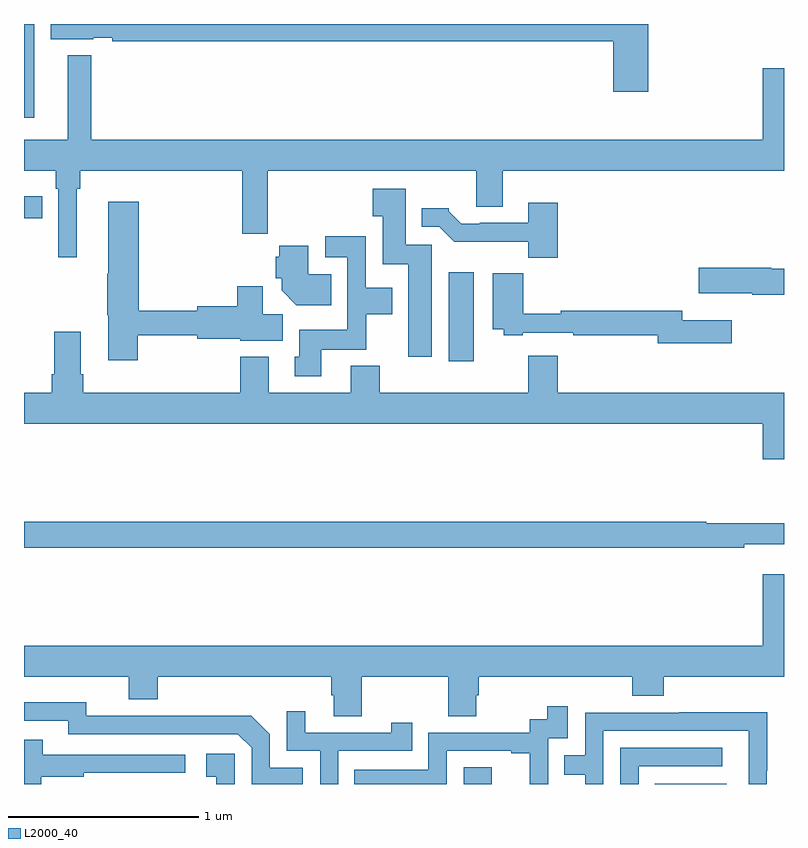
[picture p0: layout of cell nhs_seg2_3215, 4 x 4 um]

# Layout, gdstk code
import gdstk
lib = gdstk.Library(unit=1e-6, precision=1e-09)
def R(c, l, rs):  # rectangles x0, y0, x1, y1
    for r in rs: c.add(gdstk.rectangle(r[:2], r[2:], *l))
def P(c, l, *ps):  # polygons
    for p in ps: c.add(gdstk.Polygon(p, *l))
L2000_40 = (2000, 40)

nhs_seg2_3215 = lib.new_cell('nhs_seg2_3215')
R(nhs_seg2_3215, L2000_40, [(283.314,585.8,283.462,585.889), (284.32,585.8,284.698,585.802), (283.235,588.024,283.366,588.493), (281,588.778,281.096,588.894), (281,589.307,281.053,589.8)])
P(nhs_seg2_3215, L2000_40, [(284.285,589.8),(281.141,589.8),(281.141,589.721),(281.364,589.721),(281.364,589.727),(281.464,589.727),(281.464,589.708),(284.102,589.708),(284.102,589.443),(284.285,589.443)],
  [(281.278,588.932),(281.297,588.932),(281.297,589.028),(282.148,589.028),(282.148,588.696),(282.284,588.696),(282.284,589.028),(283.379,589.028),(283.379,588.838),(283.519,588.838),(283.519,589.028),(285,589.028),(285,589.567),(284.888,589.567),(284.888,589.192),(281.353,589.192),(281.353,589.636),(281.231,589.636),(281.231,589.192),(281,589.192),(281,589.028),(281.168,589.028),(281.168,588.932),(281.181,588.932),(281.181,588.573),(281.278,588.573)],
  [(283.147,588.639),(283.009,588.639),(283.009,588.934),(282.836,588.934),(282.836,588.787),(282.887,588.787),(282.887,588.536),(283.022,588.536),(283.022,588.048),(283.147,588.048)],
  [(281.598,588.162),(281.912,588.162),(281.912,588.143),(282.138,588.143),(282.138,588.134),(282.361,588.134),(282.361,588.272),(282.256,588.272),(282.256,588.421),(282.122,588.421),(282.122,588.314),(281.912,588.314),(281.912,588.29),(281.603,588.29),(281.603,588.865),(281.444,588.865),(281.444,588.485),(281.437,588.485),(281.437,588.267),(281.444,588.267),(281.444,588.03),(281.598,588.03)],
  [(283.808,588.859),(283.655,588.859),(283.655,588.753),(283.399,588.753),(283.399,588.75),(283.3,588.75),(283.236,588.814),(283.236,588.829),(283.094,588.829),(283.094,588.732),(283.185,588.732),(283.264,588.654),(283.653,588.654),(283.653,588.569),(283.808,588.569)],
  [(282.565,588.086),(282.801,588.086),(282.801,588.272),(282.937,588.272),(282.937,588.412),(282.798,588.412),(282.798,588.682),(282.585,588.682),(282.585,588.573),(282.702,588.573),(282.702,588.19),(282.449,588.19),(282.449,588.048),(282.425,588.048),(282.425,587.946),(282.565,587.946)],
  [(282.617,588.484),(282.496,588.484),(282.496,588.634),(282.344,588.634),(282.344,588.576),(282.326,588.576),(282.326,588.462),(282.356,588.462),(282.356,588.398),(282.434,588.32),(282.617,588.32)],
  [(285,588.512),(284.934,588.512),(284.934,588.518),(284.55,588.518),(284.55,588.383),(284.834,588.383),(284.834,588.376),(285,588.376)],
  [(284.725,588.241),(284.464,588.241),(284.464,588.29),(283.826,588.29),(283.826,588.275),(283.628,588.275),(283.628,588.487),(283.466,588.487),(283.466,588.194),(283.524,588.194),(283.524,588.162),(283.624,588.162),(283.624,588.174),(283.891,588.174),(283.891,588.162),(284.336,588.162),(284.336,588.119),(284.725,588.119)],
  [(285,587.86),(283.808,587.86),(283.808,588.055),(283.655,588.055),(283.655,587.86),(282.872,587.86),(282.872,588.001),(282.719,588.001),(282.719,587.86),(282.289,587.86),(282.289,588.049),(282.137,588.049),(282.137,587.86),(281.312,587.86),(281.312,587.956),(281.299,587.956),(281.299,588.181),(281.159,588.181),(281.159,587.956),(281.147,587.956),(281.147,587.86),(281,587.86),(281,587.696),(284.888,587.696),(284.888,587.508),(285,587.508)],
  [(284.792,587.063),(285,587.063),(285,587.173),(284.59,587.173),(284.59,587.18),(281,587.18),(281,587.044),(284.792,587.044)],
  [(282.777,586.364),(283.234,586.364),(283.234,586.156),(283.381,586.156),(283.381,586.266),(283.394,586.266),(283.394,586.364),(284.201,586.364),(284.201,586.265),(284.366,586.265),(284.366,586.364),(285,586.364),(285,586.903),(284.888,586.903),(284.888,586.528),(281,586.528),(281,586.364),(281.552,586.364),(281.552,586.247),(281.705,586.247),(281.705,586.364),(282.617,586.364),(282.617,586.266),(282.629,586.266),(282.629,586.156),(282.777,586.156)],
  [(282.468,585.885),(282.294,585.885),(282.294,586.062),(282.196,586.16),(281.788,586.16),(281.788,586.158),(281.328,586.158),(281.328,586.231),(281,586.231),(281,586.134),(281.232,586.134),(281.232,586.062),(282.126,586.062),(282.198,585.99),(282.198,585.8),(282.468,585.8)],
  [(283.224,585.975),(283.565,585.975),(283.565,585.963),(283.661,585.963),(283.661,585.8),(283.76,585.8),(283.76,585.812),(283.758,585.812),(283.758,586.041),(283.863,586.041),(283.863,586.21),(283.755,586.21),(283.755,586.14),(283.662,586.14),(283.662,586.071),(283.128,586.071),(283.128,585.876),(282.739,585.876),(282.739,585.8),(283.224,585.8)],
  [(282.654,585.975),(283.043,585.975),(283.043,586.123),(282.932,586.123),(282.932,586.071),(282.481,586.071),(282.481,586.183),(282.384,586.183),(282.384,585.975),(282.558,585.975),(282.558,585.8),(282.654,585.8)],
  [(284.049,586.08),(284.814,586.08),(284.814,585.8),(284.91,585.8),(284.91,585.871),(284.913,585.871),(284.913,586.178),(284.449,586.178),(284.449,586.176),(283.953,586.176),(283.953,585.951),(283.843,585.951),(283.843,585.85),(283.953,585.85),(283.953,585.8),(284.049,585.8)],
  [(281.092,585.838),(281.315,585.838),(281.315,585.858),(281.848,585.858),(281.848,585.954),(281.099,585.954),(281.099,586.033),(281,586.033),(281,585.8),(281.092,585.8)],
  [(284.235,585.894),(284.674,585.894),(284.674,585.99),(284.139,585.99),(284.139,585.8),(284.235,585.8)],
  [(282.108,585.958),(281.958,585.958),(281.958,585.837),(282.011,585.837),(282.011,585.8),(282.108,585.8)])

lib.write_gds('nhs_seg2_3215.gds')
